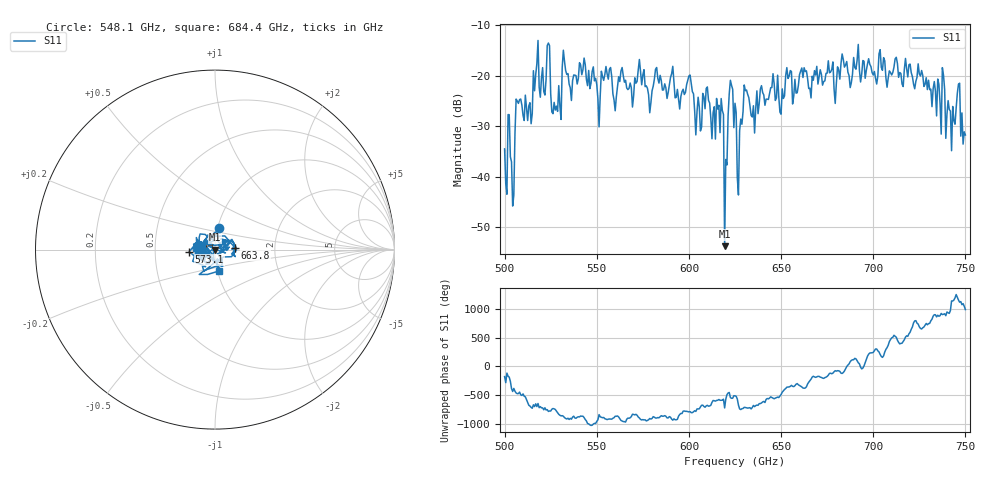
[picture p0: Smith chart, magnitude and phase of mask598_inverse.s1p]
!Created with skrf (http://scikit-rf.org).
# GHz S MA R 50.0
!freq magS11 angS11
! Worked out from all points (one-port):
!   401 points, 500 GHz to 750 GHz, reference 50 ohm
!   lowest |S11| = -53.7 dB at 619.4 GHz (marker M1), VSWR 1.00, Z = 50.2 - j0.00286 ohm
!   |S11| at or under -10 dB: start of sweep to end of sweep
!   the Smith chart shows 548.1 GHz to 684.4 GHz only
!   S11 on the Smith chart (normalised r, x): 548.1 GHz: 1.02, +0.25; 573.1 GHz: 0.75, -0.02; 663.8 GHz: 1.25, +0.03; 684.4 GHz: 1.01, -0.25
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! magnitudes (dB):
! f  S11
! 500 GHz  -34.5
! 504.4 GHz  -45.8
! 507.5 GHz  -25.5
! 513.8 GHz  -25.4
! 516.9 GHz  -19.8
! 523.8 GHz  -13.6
! 526.9 GHz  -25.3
! 531.2 GHz  -18.4
! 548.1 GHz  -18.3
! 562.5 GHz  -21.2
! 573.1 GHz  -16.8
! 593.8 GHz  -22.7
! 616.2 GHz  -25.8
! 619.4 GHz  -53.7
! 620.6 GHz  -37.6
! 622.5 GHz  -20.9
! 625 GHz  -25.5
! 627.5 GHz  -30.9
! 631.2 GHz  -22.8
! 635 GHz  -26.0
! 656.2 GHz  -25.6
! 663.8 GHz  -19.0
! 684.4 GHz  -18.3
! 687.5 GHz  -22.4
! 718.8 GHz  -20.3
! 743.1 GHz  -26.1
! 745.6 GHz  -23.5
! 750 GHz  -31.7
